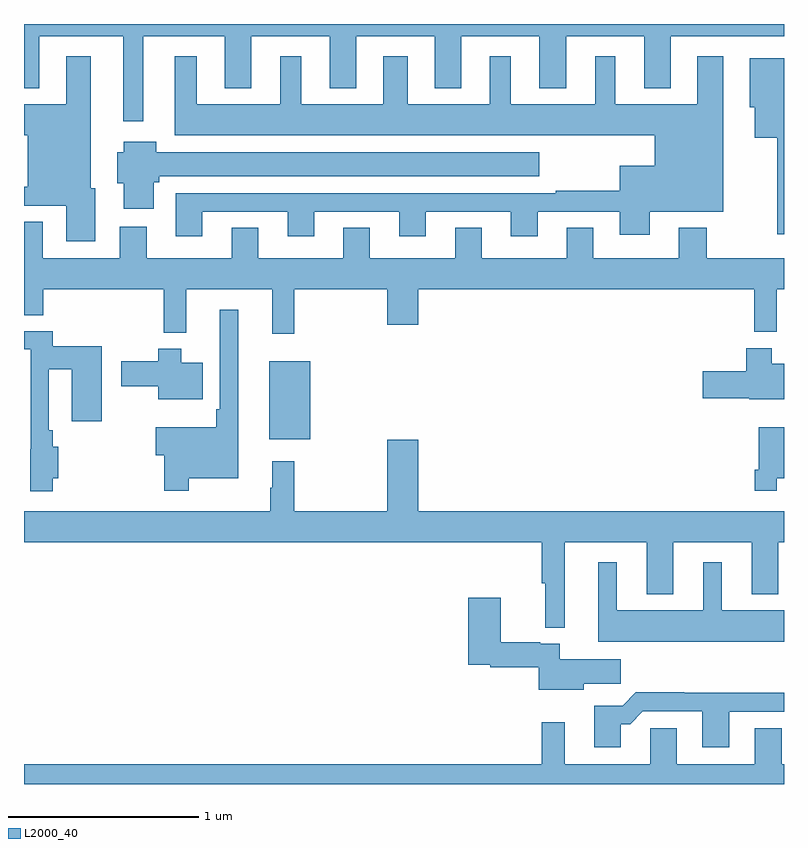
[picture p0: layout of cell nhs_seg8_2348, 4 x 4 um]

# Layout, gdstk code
import gdstk
lib = gdstk.Library(unit=1e-6, precision=1e-09)
def R(c, l, rs):  # rectangles x0, y0, x1, y1
    for r in rs: c.add(gdstk.rectangle(r[:2], r[2:], *l))
def P(c, l, *ps):  # polygons
    for p in ps: c.add(gdstk.Polygon(p, *l))
L2000_40 = (2000, 40)

nhs_seg8_2348 = lib.new_cell('nhs_seg8_2348')
R(nhs_seg8_2348, L2000_40, [(260.291,1111.715,260.506,1112.125)])
P(nhs_seg8_2348, L2000_40, [(259,1113.563),(259.081,1113.563),(259.081,1113.836),(259.523,1113.836),(259.523,1113.387),(259.627,1113.387),(259.627,1113.836),(260.057,1113.836),(260.057,1113.563),(260.197,1113.563),(260.197,1113.836),(260.609,1113.836),(260.609,1113.563),(260.749,1113.563),(260.749,1113.836),(261.161,1113.836),(261.161,1113.563),(261.301,1113.563),(261.301,1113.836),(261.713,1113.836),(261.713,1113.563),(261.853,1113.563),(261.853,1113.836),(262.265,1113.836),(262.265,1113.563),(262.405,1113.563),(262.405,1113.836),(263,1113.836),(263,1113.9),(259,1113.9)],
  [(259.939,1112.913),(260.387,1112.913),(260.387,1112.784),(260.527,1112.784),(260.527,1112.913),(260.975,1112.913),(260.975,1112.784),(261.115,1112.784),(261.115,1112.913),(261.563,1112.913),(261.563,1112.784),(261.703,1112.784),(261.703,1112.913),(262.136,1112.913),(262.136,1112.792),(262.294,1112.792),(262.294,1112.912),(262.681,1112.912),(262.681,1113.73),(262.544,1113.73),(262.544,1113.478),(262.111,1113.478),(262.111,1113.73),(262.007,1113.73),(262.007,1113.478),(261.562,1113.478),(261.562,1113.73),(261.452,1113.73),(261.452,1113.478),(261.019,1113.478),(261.019,1113.73),(260.891,1113.73),(260.891,1113.478),(260.458,1113.478),(260.458,1113.73),(260.348,1113.73),(260.348,1113.478),(259.909,1113.478),(259.909,1113.73),(259.793,1113.73),(259.793,1113.314),(262.319,1113.314),(262.319,1113.154),(262.136,1113.154),(262.136,1113.022),(261.799,1113.022),(261.799,1113.009),(259.799,1113.009),(259.799,1112.784),(259.939,1112.784)],
  [(259.375,1113.036),(259.351,1113.036),(259.351,1113.73),(259.223,1113.73),(259.223,1113.478),(259,1113.478),(259,1113.314),(259.019,1113.314),(259.019,1113.044),(259,1113.044),(259,1112.943),(259.223,1112.943),(259.223,1112.757),(259.375,1112.757)],
  [(263,1113.721),(262.82,1113.721),(262.82,1113.462),(262.847,1113.462),(262.847,1113.302),(262.965,1113.302),(262.965,1112.793),(263,1112.793)],
  [(259.684,1113.066),(259.711,1113.066),(259.711,1113.098),(261.712,1113.098),(261.712,1113.226),(259.697,1113.226),(259.697,1113.28),(259.526,1113.28),(259.526,1113.226),(259.49,1113.226),(259.49,1113.062),(259.526,1113.062),(259.526,1112.928),(259.684,1112.928)],
  [(260.423,1112.504),(260.912,1112.504),(260.912,1112.316),(261.076,1112.316),(261.076,1112.504),(262.843,1112.504),(262.843,1112.279),(262.961,1112.279),(262.961,1112.504),(263,1112.504),(263,1112.668),(262.593,1112.668),(262.593,1112.827),(262.445,1112.827),(262.445,1112.668),(261.997,1112.668),(261.997,1112.828),(261.857,1112.828),(261.857,1112.668),(261.409,1112.668),(261.409,1112.828),(261.269,1112.828),(261.269,1112.668),(260.821,1112.668),(260.821,1112.828),(260.681,1112.828),(260.681,1112.668),(260.233,1112.668),(260.233,1112.828),(260.093,1112.828),(260.093,1112.668),(259.645,1112.668),(259.645,1112.833),(259.505,1112.833),(259.505,1112.668),(259.099,1112.668),(259.099,1112.858),(259,1112.858),(259,1112.368),(259.1,1112.368),(259.1,1112.504),(259.735,1112.504),(259.735,1112.276),(259.853,1112.276),(259.853,1112.504),(260.306,1112.504),(260.306,1112.271),(260.423,1112.271)],
  [(259.867,1111.508),(260.128,1111.508),(260.128,1112.395),(260.031,1112.395),(260.031,1111.873),(260.011,1111.873),(260.011,1111.777),(259.694,1111.777),(259.694,1111.63),(259.738,1111.63),(259.738,1111.443),(259.867,1111.443)],
  [(259.151,1111.508),(259.181,1111.508),(259.181,1111.674),(259.151,1111.674),(259.151,1111.762),(259.131,1111.762),(259.131,1112.082),(259.25,1112.082),(259.25,1111.809),(259.408,1111.809),(259.408,1112.203),(259.151,1112.203),(259.151,1112.283),(259,1112.283),(259,1112.187),(259.035,1112.187),(259.035,1111.662),(259.034,1111.662),(259.034,1111.44),(259.151,1111.44)],
  [(263,1112.113),(262.936,1112.113),(262.936,1112.194),(262.802,1112.194),(262.802,1112.073),(262.572,1112.073),(262.572,1111.931),(262.818,1111.931),(262.818,1111.925),(263,1111.925)],
  [(259.942,1112.116),(259.828,1112.116),(259.828,1112.191),(259.706,1112.191),(259.706,1112.124),(259.512,1112.124),(259.512,1111.994),(259.706,1111.994),(259.706,1111.925),(259.942,1111.925)],
  [(262.962,1111.508),(263,1111.508),(263,1111.777),(262.866,1111.777),(262.866,1111.555),(262.846,1111.555),(262.846,1111.443),(262.962,1111.443)],
  [(261.847,1111.172),(262.277,1111.172),(262.277,1110.899),(262.417,1110.899),(262.417,1111.172),(262.829,1111.172),(262.829,1110.899),(262.969,1110.899),(262.969,1111.172),(263,1111.172),(263,1111.336),(261.076,1111.336),(261.076,1111.711),(260.912,1111.711),(260.912,1111.336),(260.423,1111.336),(260.423,1111.6),(260.306,1111.6),(260.306,1111.46),(260.295,1111.46),(260.295,1111.336),(259,1111.336),(259,1111.172),(261.726,1111.172),(261.726,1110.956),(261.744,1110.956),(261.744,1110.723),(261.847,1110.723)],
  [(263,1110.814),(262.672,1110.814),(262.672,1111.066),(262.574,1111.066),(262.574,1110.814),(262.12,1110.814),(262.12,1111.066),(262.022,1111.066),(262.022,1110.65),(263,1110.65)],
  [(261.946,1110.427),(262.141,1110.427),(262.141,1110.556),(261.82,1110.556),(261.82,1110.637),(261.716,1110.637),(261.716,1110.646),(261.508,1110.646),(261.508,1110.88),(261.338,1110.88),(261.338,1110.527),(261.454,1110.527),(261.454,1110.515),(261.71,1110.515),(261.71,1110.395),(261.946,1110.395)],
  [(262.141,1110.215),(262.19,1110.215),(262.257,1110.282),(262.571,1110.282),(262.571,1110.093),(262.711,1110.093),(262.711,1110.279),(263,1110.279),(263,1110.38),(262.475,1110.38),(262.475,1110.383),(262.22,1110.383),(262.15,1110.313),(262.001,1110.313),(262.001,1110.093),(262.141,1110.093)],
  [(262.296,1110.194),(262.296,1110.004),(261.847,1110.004),(261.847,1110.226),(261.726,1110.226),(261.726,1110.004),(259,1110.004),(259,1109.9),(263,1109.9),(263,1110.004),(262.987,1110.004),(262.987,1110.194),(262.847,1110.194),(262.847,1110.004),(262.435,1110.004),(262.435,1110.194)])

lib.write_gds('nhs_seg8_2348.gds')
